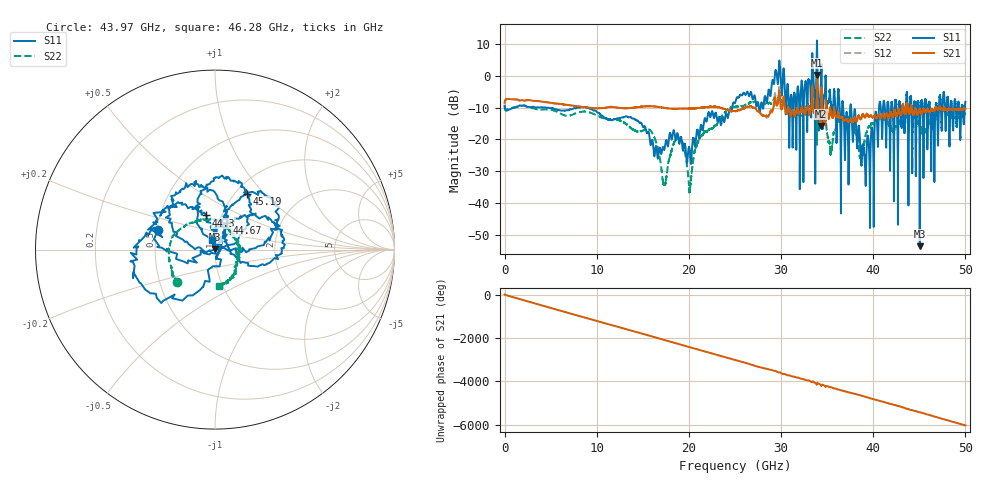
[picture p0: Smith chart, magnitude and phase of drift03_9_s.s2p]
!Created with skrf (http://scikit-rf.org).
# Hz S RI R 50.0
!freq ReS11 ImS11 ReS21 ImS21 ReS12 ImS12 ReS22 ImS22
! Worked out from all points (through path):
!   10001 points, 300 kHz to 50 GHz, reference 50 ohm
!   highest |S21| = 0.29 dB at 33.9 GHz (marker M1); lowest = -15.8 dB at 34.32 GHz (marker M2)
!   group delay of S21, straight-line fit = 335 ps
!   lowest |S11| = -53.7 dB at 45.05 GHz (marker M3), VSWR 1.00, Z = 49.8 + j0.143 ohm
!   |S11| at or under -10 dB: 4.474 GHz to 7.924 GHz (3.45 GHz wide, 55.7 % of centre); 9.015 GHz to 24.7 GHz (15.68 GHz wide, 93 % of centre); 37.6 GHz to 40.63 GHz (3.024 GHz wide, 7.73 % of centre) (the widest 3 of 60)
!   |S22| runs from -36.8 to -6.0 dB; largest |S21 - S12| = 0.11
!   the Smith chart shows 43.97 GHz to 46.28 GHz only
!   S11 on the Smith chart (normalised r, x): 43.97 GHz: 0.51, +0.13; 44.3 GHz: 0.85, +0.34; 44.67 GHz: 1.09, +0.33; 45.19 GHz: 1.13, +0.81; 46.28 GHz: 0.96, +0.11
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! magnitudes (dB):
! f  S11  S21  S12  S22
! 300 kHz  -9.4  -8.5  -8.5  -9.4
! 8.335 GHz  -9.9  -9.8  -9.8  -11.3
! 16.67 GHz  -25.5  -9.8  -9.8  -23.5
! 17.36 GHz  -23.1  -10.1  -10.1  -34.2
! 19.04 GHz  -20.3  -10.3  -10.4  -19.9
! 20.11 GHz  -23.7  -10.3  -10.3  -35.0
! 21.19 GHz  -17.9  -10.1  -10.1  -19.5
! 25 GHz  -8.6  -11.1  -11.1  -9.8
! 29.66 GHz  -2.4  -8.4  -8.4  -7.2
! 31.08 GHz  -6.1  -12.7  -12.8  -10.5
! 33.34 GHz  0.1  -7.7  -7.8  -9.5
! 33.9 GHz  11.1  0.3  -0.2  -21.7
! 34.32 GHz  -2.8  -15.8  -15.1  -11.4
! 38.99 GHz  -23.8  -12.7  -12.8  -22.2
! 41.67 GHz  -9.8  -13.4  -13.3  -14.9
! 43.97 GHz  -9.5  -11.5  -11.7  -11.2
! 44.3 GHz  -14.1  -12.1  -12.1  -11.7
! 44.67 GHz  -15.9  -11.3  -11.4  -13.2
! 45.05 GHz  -53.7  -10.6  -10.6  -15.7
! 45.19 GHz  -8.9  -11.8  -11.8  -16.9
! 46.28 GHz  -24.7  -10.7  -10.8  -13.8
! 50 GHz  -8.2  -10.4  -10.5  -12.1
